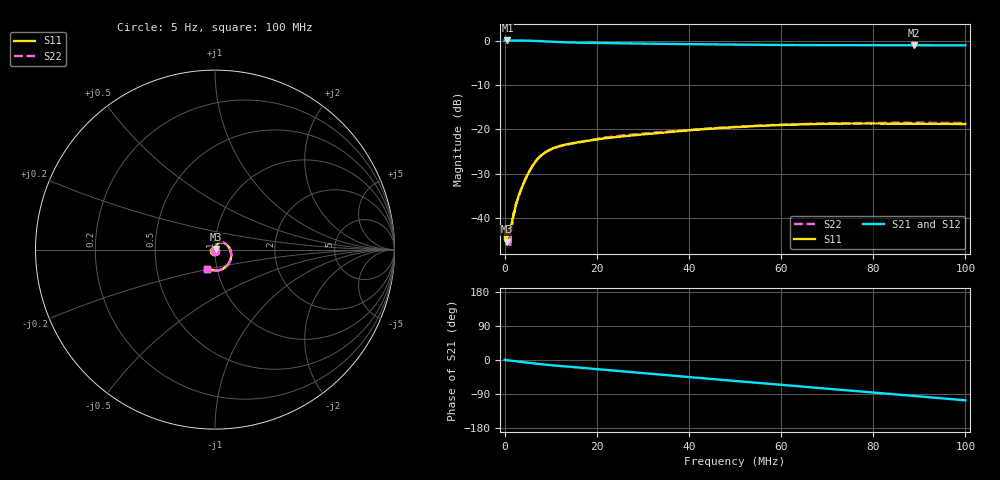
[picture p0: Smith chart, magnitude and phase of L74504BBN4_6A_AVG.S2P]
!Agilent Technologies,E5061B,MY49102235,A.02.00
!Date: Tue Jul 11 16:36:21 2023
!Data & Calibration Information:
!Freq	S11:SOLT2(ON)	S21:SOLT2(ON)	S12:SOLT2(ON)	S22:SOLT2(ON)
# Hz S RI R 50
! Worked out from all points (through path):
!   1600 points, 5 Hz to 100 MHz, reference 50 ohm
!   highest |S21| = 0.02 dB at 625.4 kHz (marker M1); lowest = -1.1 dB at 88.87 MHz (marker M2)
!   group delay of S21, straight-line fit = 2.88 ns
!   lowest |S11| = -45.2 dB at 500.3 kHz (marker M3), VSWR 1.01, Z = 50.5 + j0.284 ohm
!   |S11| at or under -10 dB: start of sweep to end of sweep
!   |S22| runs from -46.3 to -18.5 dB; largest |S21 - S12| = 0.0026
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5  -0.00518 -0.00563  1.002 0.00806  1 0.0102  -0.00149 -0.00755
500317.7  0.00469 0.00281  1.001 -0.011  1.002 -0.0109  0.00491 0.00122
625395.8  0.00524 0.00347  1.002 -0.0145  1.002 -0.0141  0.00627 0.00307
938091.3  0.00463 0.00571  1.001 -0.0211  1.001 -0.0208  0.00619 0.00514
1313326  0.00498 0.00636  1.001 -0.03  1.001 -0.0303  0.00319 0.0048
1688560  0.00457 0.00831  0.9998 -0.0403  1.001 -0.0404  0.0043 0.00749
2063795  0.00413 0.0111  1 -0.0495  0.9999 -0.05  0.00458 0.0109
2376490  0.00461 0.0127  0.9985 -0.057  0.999 -0.0573  0.00528 0.013
2939342  0.00619 0.016  0.9975 -0.0709  0.9973 -0.071  0.00516 0.0164
3502194  0.00714 0.0192  0.9959 -0.0849  0.9958 -0.0848  0.00623 0.0198
5065671  0.0116 0.0293  0.989 -0.1243  0.989 -0.1241  0.0113 0.0296
6816765  0.0224 0.0381  0.9746 -0.1666  0.9745 -0.1666  0.022 0.0386
8317703  0.0334 0.0409  0.959 -0.1977  0.9589 -0.1976  0.0333 0.0413
1.044403e7  0.0472 0.0386  0.9377 -0.2354  0.9376 -0.235  0.0466 0.0387
1.669794e7  0.0689 0.0229  0.8849 -0.3323  0.8847 -0.3321  0.0687 0.0228
2.345216e7  0.0809 0.00683  0.8272 -0.4332  0.8272 -0.4329  0.0829 0.00559
3.333334e7  0.089 -0.0194  0.7246 -0.5666  0.7245 -0.5664  0.0903 -0.0206
5.003127e7  0.0823 -0.0671  0.5121 -0.7404  0.512 -0.7403  0.0823 -0.0683
6.672921e7  0.0463 -0.1049  0.2699 -0.8455  0.2701 -0.8454  0.0471 -0.1057
8.33646e7  0.00018 -0.1164  0.0124 -0.8832  0.0124 -0.8833  0.000484 -0.1186
8.886804e7  -0.0147 -0.1151  -0.0751 -0.8797  -0.075 -0.88  -0.0146 -0.1178
1e8  -0.042 -0.1071  -0.2507 -0.8473  -0.2506 -0.8473  -0.0422 -0.1101
